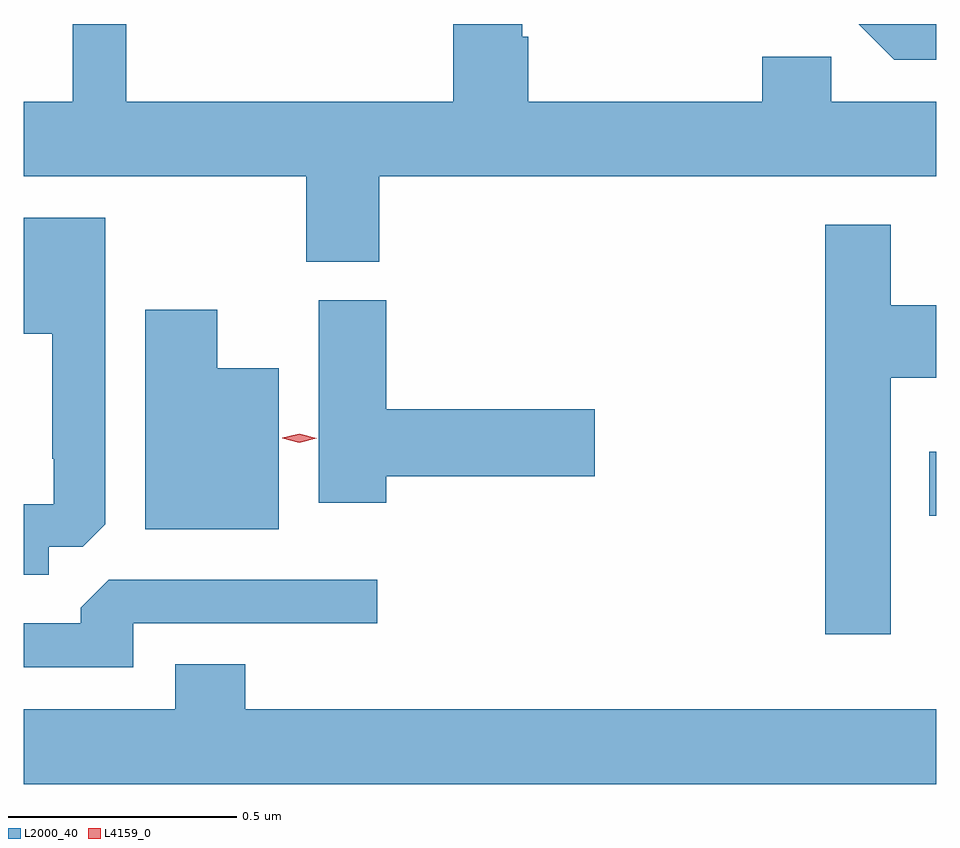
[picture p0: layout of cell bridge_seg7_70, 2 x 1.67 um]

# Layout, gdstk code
import gdstk
lib = gdstk.Library(unit=1e-6, precision=1e-09)
def R(c, l, rs):  # rectangles x0, y0, x1, y1
    for r in rs: c.add(gdstk.rectangle(r[:2], r[2:], *l))
def P(c, l, *ps):  # polygons
    for p in ps: c.add(gdstk.Polygon(p, *l))
L2000_40 = (2000, 40)
L4159_0 = (4159, 0)

bridge_seg7_70 = lib.new_cell('bridge_seg7_70')
R(bridge_seg7_70, L2000_40, [(1057.352,1025.18,1057.367,1025.32)])
P(bridge_seg7_70, L2000_40, [(1056.146,1025.924),(1057.367,1025.924),(1057.367,1026.088),(1057.137,1026.088),(1057.137,1026.186),(1056.986,1026.186),(1056.986,1026.088),(1056.473,1026.088),(1056.473,1026.23),(1056.46,1026.23),(1056.46,1026.258),(1056.308,1026.258),(1056.308,1026.088),(1055.591,1026.088),(1055.591,1026.258),(1055.474,1026.258),(1055.474,1026.088),(1055.367,1026.088),(1055.367,1025.924),(1055.986,1025.924),(1055.986,1025.737),(1056.146,1025.737)],
  [(1057.367,1026.258),(1057.197,1026.258),(1057.275,1026.18),(1057.367,1026.18)],
  [(1055.422,1025.112),(1055.496,1025.112),(1055.545,1025.161),(1055.545,1025.833),(1055.367,1025.833),(1055.367,1025.579),(1055.429,1025.579),(1055.429,1025.305),(1055.433,1025.305),(1055.433,1025.205),(1055.367,1025.205),(1055.367,1025.051),(1055.422,1025.051)],
  [(1057.267,1025.483),(1057.367,1025.483),(1057.367,1025.641),(1057.267,1025.641),(1057.267,1025.818),(1057.124,1025.818),(1057.124,1024.92),(1057.267,1024.92)],
  [(1056.161,1025.267),(1056.619,1025.267),(1056.619,1025.414),(1056.161,1025.414),(1056.161,1025.652),(1056.014,1025.652),(1056.014,1025.208),(1056.161,1025.208)],
  [(1055.926,1025.503),(1055.791,1025.503),(1055.791,1025.632),(1055.633,1025.632),(1055.633,1025.15),(1055.926,1025.15)],
  [(1055.607,1024.944),(1056.142,1024.944),(1056.142,1025.04),(1055.553,1025.04),(1055.492,1024.978),(1055.492,1024.944),(1055.367,1024.944),(1055.367,1024.848),(1055.607,1024.848)],
  [(1057.367,1024.756),(1055.852,1024.756),(1055.852,1024.855),(1055.699,1024.855),(1055.699,1024.756),(1055.367,1024.756),(1055.367,1024.592),(1057.367,1024.592)])
P(bridge_seg7_70, L4159_0, [(1055.971,1025.34),(1055.933,1025.35),(1055.933,1025.35),(1055.933,1025.351),(1055.971,1025.36),(1056.009,1025.35),(1056.009,1025.35),(1056.009,1025.35)])

lib.write_gds('bridge_seg7_70.gds')
